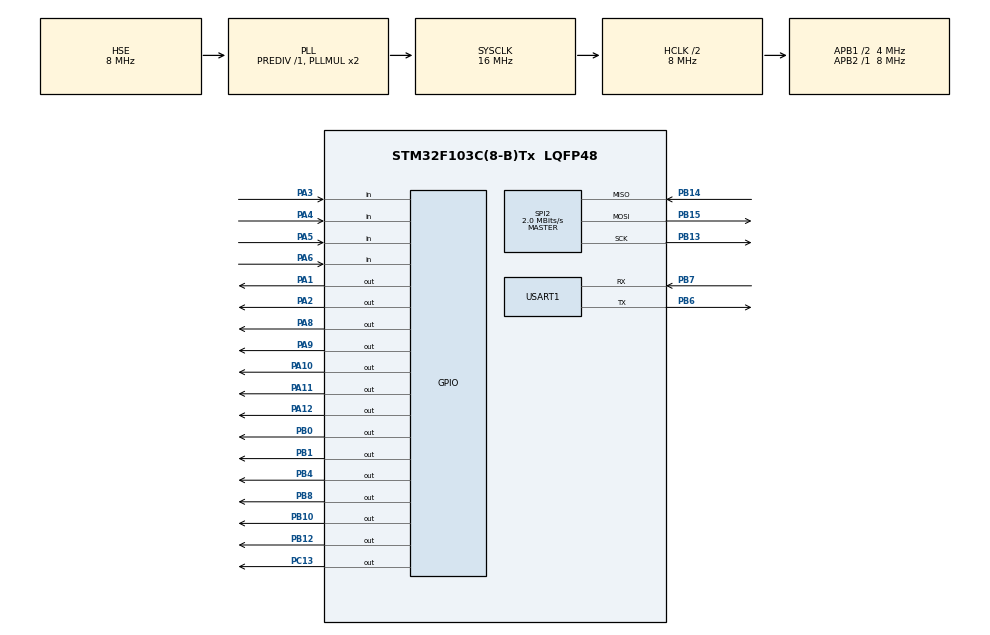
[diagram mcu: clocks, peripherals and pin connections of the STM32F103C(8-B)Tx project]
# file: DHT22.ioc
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Mcu.Family=STM32F1
Mcu.Name=STM32F103C(8-B)Tx
Mcu.Package=LQFP48
NVIC.PriorityGroup=NVIC_PRIORITYGROUP_4
PA1.Signal=GPIO_Output
PA10.Signal=GPIO_Output
PA11.Signal=GPIO_Output
PA12.Signal=GPIO_Output
PA13.Mode=Serial_Wire
PA13.Signal=SYS_JTMS-SWDIO
PA14.Mode=Serial_Wire
PA14.Signal=SYS_JTCK-SWCLK
PA2.Signal=GPIO_Output
PA3.GPIO_PuPd=GPIO_PULLUP
PA3.Signal=GPIO_Input
PA4.Signal=GPIO_Input
PA5.Signal=GPIO_Input
PA6.GPIO_PuPd=GPIO_PULLUP
PA6.Signal=GPIO_Input
PA8.Signal=GPIO_Output
PA9.Signal=GPIO_Output
PB0.Signal=GPIO_Output
PB1.Signal=GPIO_Output
PB10.Signal=GPIO_Output
PB12.Signal=GPIO_Output
PB13.Mode=Full_Duplex_Master
PB13.Signal=SPI2_SCK
PB14.Mode=Full_Duplex_Master
PB14.Signal=SPI2_MISO
PB15.Mode=Full_Duplex_Master
PB15.Signal=SPI2_MOSI
PB4.Signal=GPIO_Output
PB6.Mode=Asynchronous
PB6.Signal=USART1_TX
PB7.Mode=Asynchronous
PB7.Signal=USART1_RX
PB8.Signal=GPIO_Output
PC13-TAMPER-RTC.Signal=GPIO_Output
PD0-OSC_IN.Mode=HSE-External-Oscillator
PD0-OSC_IN.Signal=RCC_OSC_IN
PD1-OSC_OUT.Mode=HSE-External-Oscillator
PD1-OSC_OUT.Signal=RCC_OSC_OUT
ProjectManager.HeapSize=0x200
ProjectManager.StackSize=0x400
ProjectManager.TargetToolchain=STM32CubeIDE
RCC.AHBCLKDivider=RCC_SYSCLK_DIV2
RCC.AHBFreq_Value=8000000
RCC.APB1CLKDivider=RCC_HCLK_DIV2
RCC.APB1Freq_Value=4000000
RCC.APB1TimFreq_Value=8000000
RCC.APB2Freq_Value=8000000
RCC.APB2TimFreq_Value=8000000
RCC.HCLKFreq_Value=8000000
RCC.PLLSourceVirtual=RCC_PLLSOURCE_HSE
RCC.SYSCLKFreq_VALUE=16000000
RCC.SYSCLKSource=RCC_SYSCLKSOURCE_PLLCLK
RCC.USBFreq_Value=16000000
SPI2.CalculateBaudRate=2.0 MBits/s
SPI2.Direction=SPI_DIRECTION_2LINES
SPI2.Mode=SPI_MODE_MASTER
SPI2.VirtualType=VM_MASTER
TIM3.Prescaler=8000
TIM4.Prescaler=8000
USART1.VirtualMode=VM_ASYNC
VP_TIM3_VS_ClockSourceINT.Mode=Internal
VP_TIM4_VS_ClockSourceINT.Mode=Internal
board=custom

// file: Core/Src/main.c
/* USER CODE BEGIN Header */
/**
 ******************************************************************************
 * @file           : main.c
 * @brief          : Main program body
 ******************************************************************************
 * @attention
 *
 * Copyright (c) 2024 STMicroelectronics.
 * All rights reserved.
 *
 * This software is licensed under terms that can be found in the LICENSE file
 * in the root directory of this software component.
 * If no LICENSE file comes with this software, it is provided AS-IS.
 *
 ******************************************************************************
 */
/* USER CODE END Header */
#include "main.h"

/* USER CODE BEGIN Includes */
#include <string.h>
#include <stdio.h>
#include <stdbool.h>

#include <LCD20x4.h>
#include <DHT.h>
#include <ShowScreen.h>
#include <FLash.h>
#include "rc522.h"
#include "string.h"
/* USER CODE END Includes */

/* USER CODE BEGIN PTD */
#define ADD_HUMI_DATA 0x0800FC00
#define ADD_TEMP_DATA 0x08010000
/* USER CODE END PTD */

/* USER CODE BEGIN PD */
uint16_t NhietDo;
uint16_t DoAm;
uint8_t  TempSet = 30, HumiSet = 60;
bool menu = 0 , tang = 0 , giam  = 0 , ok = 0 , i , ex;
char buffer1[2];
char buffer2[2];
DHT_data d;
int a;

/* USER CODE END PD */

SPI_HandleTypeDef hspi2;

TIM_HandleTypeDef htim3;
TIM_HandleTypeDef htim4;

UART_HandleTypeDef huart1;

/* USER CODE BEGIN PV */
uint8_t status;
uint8_t str[MAX_LEN]; // Max_LEN = 16
uint8_t sNum[5];
/* USER CODE END PV */

void SystemClock_Config(void);
static void MX_GPIO_Init(void);
static void MX_TIM4_Init(void);
static void MX_USART1_UART_Init(void);
static void MX_SPI2_Init(void);
static void MX_TIM3_Init(void);

/* USER CODE BEGIN 0 */
void Normal(void) {
	HAL_GPIO_WritePin(BuzzerPort, BuzzerPin, 0);
	HAL_GPIO_WritePin(LedPort, LedPin, 0);
}

void Warning(void) {
	HAL_GPIO_TogglePin(BuzzerPort, BuzzerPin);
	HAL_GPIO_TogglePin(LedPort, LedPin);
}

void PressSound(void) {
	HAL_GPIO_TogglePin(BuzzerPort, BuzzerPin);
	HAL_GPIO_TogglePin(LedPort, LedPin);
	HAL_Delay(20);
	HAL_GPIO_TogglePin(BuzzerPort, BuzzerPin);
	HAL_GPIO_TogglePin(LedPort, LedPin);
}

void Mode(void) {
	if (menu == 0)
	{
		hienthi(NhietDo, DoAm);
		if (HAL_GPIO_ReadPin(GPIOA, Menu) == 0)
		{
			while (HAL_GPIO_ReadPin(GPIOA, Menu) == 0){}
			PressSound();
			LCD_Clear();
			menu = !menu;
		}
	}
	if (menu == 1)
	{
		LCD_SetCursor(0, 0);
		LCD_SendString("Chon gia tri cai dat");
		LCD_SetCursor(1, 4);
		LCD_SendString("Nhiet do");
		LCD_SetCursor(2, 4);
		LCD_SendString("Do am");

		LCD_SetCursor(i + 1, 0);
		LCD_SendString("->");
		if (HAL_GPIO_ReadPin(GPIOA, Menu) == 0)
		{
			while (HAL_GPIO_ReadPin(GPIOA, Menu) == 0) {}
			PressSound();
			LCD_Clear();
			menu = !menu;
		}
		if (HAL_GPIO_ReadPin(GPIOA, Tang) == 0)
		{
			LCD_SetCursor(1, 0);
			LCD_SendString("  ");
			LCD_SetCursor(2, 0);
			LCD_SendString("  ");
			i = !i ;
			LCD_SetCursor(i + 1, 0);
			LCD_SendString("->");
			PressSound();
		}
		if (HAL_GPIO_ReadPin(GPIOA, Giam) == 0)
		{
			LCD_SetCursor(1, 0);
			LCD_SendString("  ");
			LCD_SetCursor(2, 0);
			LCD_SendString("  ");
			i = !i ;
			LCD_SetCursor(i - 1, 0);
			LCD_SendString("->");
			PressSound();
		}
		if( HAL_GPIO_ReadPin(GPIOA, Ok) == 0 && i == 0 && ex == 0)
		{
			while(HAL_GPIO_ReadPin(GPIOA, Ok) == 0){}
			PressSound();
			ex = !ex;
			LCD_Clear();
			while(ex == 1)
			{
				LCD_SetCursor(0, 0);
				LCD_PrintInt(TempSet);
				LCD_SetCursor(1, 0);
				LCD_SendString("Press OK to setup !!");
				if (HAL_GPIO_ReadPin(GPIOA, Ok) == 0)
				{
					PressSound();
					LCD_Clear();
					ex = 0;
					menu = 0;
				}
				if (HAL_GPIO_ReadPin(GPIOA, Tang) == 0)
				{
					LCD_SetCursor(0,0);
					LCD_SendString("   ");
					FlashErase(ADD_TEMP_DATA);
					TempSet += 1;
					if(TempSet >= 80)
					{
						TempSet = 20;
					}
					FlashWrite(TempSet , ADD_TEMP_DATA);
				}
				if (HAL_GPIO_ReadPin(GPIOA, Giam) == 0)
				{
					LCD_SetCursor(0,0);
					LCD_SendString("   ");
					FlashErase(ADD_TEMP_DATA);
					TempSet -= 1;
					if(TempSet <= 20)
					{
						TempSet = 80;
					}
					FlashWrite(TempSet , ADD_TEMP_DATA);
				}
			}
		}
		if (HAL_GPIO_ReadPin(GPIOA, Ok) == 0 && i == 1 && ex == 0)
		{
			while (HAL_GPIO_ReadPin(GPIOA, Ok) == 0) {}
			PressSound();
			ex = !ex;
			LCD_Clear();
			while (ex == 1)
			{
				LCD_SetCursor(0, 0);
				LCD_PrintInt(HumiSet);
				LCD_SetCursor(1, 0);
				LCD_SendString("Press OK to setup !!");
				if (HAL_GPIO_ReadPin(GPIOA, Ok) == 0)
				{
					PressSound();
					LCD_Clear();
					ex = 0;
					menu = 0;
				}
				if (HAL_GPIO_ReadPin(GPIOA, Tang) == 0)
				{
					LCD_SetCursor(0,0);
					LCD_SendString("   ");
					FlashErase(ADD_HUMI_DATA);
					HumiSet += 1;
					if( HumiSet >= 70)
					{
						HumiSet = 20;
					}
					FlashWrite(HumiSet , ADD_HUMI_DATA);
				}
				if (HAL_GPIO_ReadPin(GPIOA, Giam) == 0)
				{
					LCD_SetCursor(0,0);
					LCD_SendString("   ");
					FlashErase(ADD_HUMI_DATA);
					HumiSet -= 1;
					if (HumiSet <= 20)
					{
						HumiSet = 70;
					}
					FlashWrite(HumiSet , ADD_HUMI_DATA);
				}
			}
		}
	}
}
/* USER CODE END 0 */

int main(void)
{

  /* MCU Configuration--------------------------------------------------------*/

  /* Reset of all peripherals, Initializes the Flash interface and the Systick. */
  HAL_Init();

  /* Configure the system clock */
  SystemClock_Config();

  /* Initialize all configured peripherals */
  MX_GPIO_Init();
  MX_TIM4_Init();
  MX_USART1_UART_Init();
  MX_SPI2_Init();
  MX_TIM3_Init();
  /* USER CODE BEGIN 2 */
  MFRC522_Init();
  LCD_Init();
  HAL_TIM_Base_Start(&htim4);
  DHT_sensor MyRoom = { GPIOB, GPIO_PIN_4, DHT22, GPIO_NOPULL };
  HumiSet = FlashRead (ADD_HUMI_DATA) ;
  TempSet = FlashRead (ADD_TEMP_DATA) ;
  __HAL_TIM_SET_COUNTER(&htim4 , 0);
  HAL_TIM_PWM_Start(&htim4 , TIM_CHANNEL_3);
  /* USER CODE END 2 */

  /* Infinite loop */
	while (1)
	{

    /* USER CODE BEGIN 3 */
		d = DHT_getData(&MyRoom);

		NhietDo = (uint16_t) d.temp;
		DoAm = (uint16_t) d.hum;

		if (d.temp > TempSet || d.hum > HumiSet) {
			Warning();
		} else {
			Normal();
		}
		Mode();
		sprintf(buffer1 , "%d" ,(uint16_t) d.temp);
		sprintf(buffer2 , "%d" ,(uint16_t) d.hum);
		if(__HAL_TIM_GET_COUNTER(&htim4) > 1000)
		{
			HAL_UART_Transmit(&huart1 , (uint8_t *)buffer1 , 2,1);
			HAL_UART_Transmit(&huart1 , (uint8_t *)buffer2 , 2,1);
			__HAL_TIM_SET_COUNTER(&htim4 , 0);
		}
		status = MFRC522_Request(PICC_REQIDL, str);
		status = MFRC522_Anticoll(str);
		memcpy(sNum, str, 5);
		if((sNum[0]==115) && (sNum[1]==238) && (sNum[2]==40) && (sNum[3]==168) && (sNum[4]==29) )
		{

			   HAL_GPIO_WritePin(GPIOB,GPIO_PIN_10,1);
			   LCD_SetCursor(2, 0);
			   LCD_SendString("         ");
			   LCD_SetCursor(2, 0);
			   LCD_SendString("CUA MO");
			   HAL_Delay(1000);
		}
		else
		{
			HAL_GPIO_WritePin(GPIOB,GPIO_PIN_10,0);
			LCD_SetCursor(2,0);
			LCD_SendString("         ");
			LCD_SetCursor(2, 0);
			LCD_SendString("CUA DONG");
		}
	}

  /* USER CODE END 3 */
}

void SystemClock_Config(void)
{
  RCC_OscInitTypeDef RCC_OscInitStruct = {0};
  RCC_ClkInitTypeDef RCC_ClkInitStruct = {0};

  /** Initializes the RCC Oscillators according to the specified parameters
  * in the RCC_OscInitTypeDef structure.
  */
  RCC_OscInitStruct.OscillatorType = RCC_OSCILLATORTYPE_HSE;
  RCC_OscInitStruct.HSEState = RCC_HSE_ON;
  RCC_OscInitStruct.HSEPredivValue = RCC_HSE_PREDIV_DIV1;
  RCC_OscInitStruct.HSIState = RCC_HSI_ON;
  RCC_OscInitStruct.PLL.PLLState = RCC_PLL_ON;
  RCC_OscInitStruct.PLL.PLLSource = RCC_PLLSOURCE_HSE;
  RCC_OscInitStruct.PLL.PLLMUL = RCC_PLL_MUL2;
  if (HAL_RCC_OscConfig(&RCC_OscInitStruct) != HAL_OK)
  {
    Error_Handler();
  }

  /** Initializes the CPU, AHB and APB buses clocks
  */
  RCC_ClkInitStruct.ClockType = RCC_CLOCKTYPE_HCLK|RCC_CLOCKTYPE_SYSCLK
                              |RCC_CLOCKTYPE_PCLK1|RCC_CLOCKTYPE_PCLK2;
  RCC_ClkInitStruct.SYSCLKSource = RCC_SYSCLKSOURCE_PLLCLK;
  RCC_ClkInitStruct.AHBCLKDivider = RCC_SYSCLK_DIV2;
  RCC_ClkInitStruct.APB1CLKDivider = RCC_HCLK_DIV2;
  RCC_ClkInitStruct.APB2CLKDivider = RCC_HCLK_DIV1;

  if (HAL_RCC_ClockConfig(&RCC_ClkInitStruct, FLASH_LATENCY_0) != HAL_OK)
  {
    Error_Handler();
  }
}

static void MX_SPI2_Init(void)
{

  /* SPI2 parameter configuration*/
  hspi2.Instance = SPI2;
  hspi2.Init.Mode = SPI_MODE_MASTER;
  hspi2.Init.Direction = SPI_DIRECTION_2LINES;
  hspi2.Init.DataSize = SPI_DATASIZE_8BIT;
  hspi2.Init.CLKPolarity = SPI_POLARITY_LOW;
  hspi2.Init.CLKPhase = SPI_PHASE_1EDGE;
  hspi2.Init.NSS = SPI_NSS_SOFT;
  hspi2.Init.BaudRatePrescaler = SPI_BAUDRATEPRESCALER_2;
  hspi2.Init.FirstBit = SPI_FIRSTBIT_MSB;
  hspi2.Init.TIMode = SPI_TIMODE_DISABLE;
  hspi2.Init.CRCCalculation = SPI_CRCCALCULATION_DISABLE;
  hspi2.Init.CRCPolynomial = 10;
  if (HAL_SPI_Init(&hspi2) != HAL_OK)
  {
    Error_Handler();
  }

}

static void MX_TIM3_Init(void)
{

  TIM_ClockConfigTypeDef sClockSourceConfig = {0};
  TIM_MasterConfigTypeDef sMasterConfig = {0};

  htim3.Instance = TIM3;
  htim3.Init.Prescaler = 8000;
  htim3.Init.CounterMode = TIM_COUNTERMODE_UP;
  htim3.Init.Period = 65535;
  htim3.Init.ClockDivision = TIM_CLOCKDIVISION_DIV1;
  htim3.Init.AutoReloadPreload = TIM_AUTORELOAD_PRELOAD_DISABLE;
  if (HAL_TIM_Base_Init(&htim3) != HAL_OK)
  {
    Error_Handler();
  }
  sClockSourceConfig.ClockSource = TIM_CLOCKSOURCE_INTERNAL;
  if (HAL_TIM_ConfigClockSource(&htim3, &sClockSourceConfig) != HAL_OK)
  {
    Error_Handler();
  }
  sMasterConfig.MasterOutputTrigger = TIM_TRGO_RESET;
  sMasterConfig.MasterSlaveMode = TIM_MASTERSLAVEMODE_DISABLE;
  if (HAL_TIMEx_MasterConfigSynchronization(&htim3, &sMasterConfig) != HAL_OK)
  {
    Error_Handler();
  }

}

static void MX_TIM4_Init(void)
{

  TIM_ClockConfigTypeDef sClockSourceConfig = {0};
  TIM_MasterConfigTypeDef sMasterConfig = {0};

  htim4.Instance = TIM4;
  htim4.Init.Prescaler = 8000;
  htim4.Init.CounterMode = TIM_COUNTERMODE_UP;
  htim4.Init.Period = 65535;
  htim4.Init.ClockDivision = TIM_CLOCKDIVISION_DIV1;
  htim4.Init.AutoReloadPreload = TIM_AUTORELOAD_PRELOAD_DISABLE;
  if (HAL_TIM_Base_Init(&htim4) != HAL_OK)
  {
    Error_Handler();
  }
  sClockSourceConfig.ClockSource = TIM_CLOCKSOURCE_INTERNAL;
  if (HAL_TIM_ConfigClockSource(&htim4, &sClockSourceConfig) != HAL_OK)
  {
    Error_Handler();
  }
  sMasterConfig.MasterOutputTrigger = TIM_TRGO_RESET;
  sMasterConfig.MasterSlaveMode = TIM_MASTERSLAVEMODE_DISABLE;
  if (HAL_TIMEx_MasterConfigSynchronization(&htim4, &sMasterConfig) != HAL_OK)
  {
    Error_Handler();
  }

}

static void MX_USART1_UART_Init(void)
{

  huart1.Instance = USART1;
  huart1.Init.BaudRate = 115200;
  huart1.Init.WordLength = UART_WORDLENGTH_8B;
  huart1.Init.StopBits = UART_STOPBITS_1;
  huart1.Init.Parity = UART_PARITY_NONE;
  huart1.Init.Mode = UART_MODE_TX_RX;
  huart1.Init.HwFlowCtl = UART_HWCONTROL_NONE;
  huart1.Init.OverSampling = UART_OVERSAMPLING_16;
  if (HAL_UART_Init(&huart1) != HAL_OK)
  {
    Error_Handler();
  }

}

static void MX_GPIO_Init(void)
{
  GPIO_InitTypeDef GPIO_InitStruct = {0};

  /* GPIO Ports Clock Enable */
  __HAL_RCC_GPIOC_CLK_ENABLE();
  __HAL_RCC_GPIOD_CLK_ENABLE();
  __HAL_RCC_GPIOA_CLK_ENABLE();
  __HAL_RCC_GPIOB_CLK_ENABLE();

  /*Configure GPIO pin Output Level */
  HAL_GPIO_WritePin(GPIOC, GPIO_PIN_13, GPIO_PIN_RESET);

  /*Configure GPIO pin Output Level */
  HAL_GPIO_WritePin(GPIOA, GPIO_PIN_1|GPIO_PIN_2|GPIO_PIN_8|GPIO_PIN_9
                          |GPIO_PIN_10|GPIO_PIN_11|GPIO_PIN_12, GPIO_PIN_RESET);

  /*Configure GPIO pin Output Level */
  HAL_GPIO_WritePin(GPIOB, GPIO_PIN_0|GPIO_PIN_1|GPIO_PIN_10|GPIO_PIN_12
                          |GPIO_PIN_4|GPIO_PIN_8, GPIO_PIN_RESET);

  /*Configure GPIO pin : PC13 */
  GPIO_InitStruct.Pin = GPIO_PIN_13;
  GPIO_InitStruct.Mode = GPIO_MODE_OUTPUT_PP;
  GPIO_InitStruct.Pull = GPIO_NOPULL;
  GPIO_InitStruct.Speed = GPIO_SPEED_FREQ_LOW;
  HAL_GPIO_Init(GPIOC, &GPIO_InitStruct);

  /*Configure GPIO pins : PA1 PA2 PA8 PA9
                           PA10 PA11 PA12 */
  GPIO_InitStruct.Pin = GPIO_PIN_1|GPIO_PIN_2|GPIO_PIN_8|GPIO_PIN_9
                          |GPIO_PIN_10|GPIO_PIN_11|GPIO_PIN_12;
  GPIO_InitStruct.Mode = GPIO_MODE_OUTPUT_PP;
  GPIO_InitStruct.Pull = GPIO_NOPULL;
  GPIO_InitStruct.Speed = GPIO_SPEED_FREQ_LOW;
  HAL_GPIO_Init(GPIOA, &GPIO_InitStruct);

  /*Configure GPIO pins : PA3 PA6 */
  GPIO_InitStruct.Pin = GPIO_PIN_3|GPIO_PIN_6;
  GPIO_InitStruct.Mode = GPIO_MODE_INPUT;
  GPIO_InitStruct.Pull = GPIO_PULLUP;
  HAL_GPIO_Init(GPIOA, &GPIO_InitStruct);

  /*Configure GPIO pins : PA4 PA5 */
  GPIO_InitStruct.Pin = GPIO_PIN_4|GPIO_PIN_5;
  GPIO_InitStruct.Mode = GPIO_MODE_INPUT;
  GPIO_InitStruct.Pull = GPIO_NOPULL;
  HAL_GPIO_Init(GPIOA, &GPIO_InitStruct);

  /*Configure GPIO pins : PB0 PB1 PB10 PB12
                           PB4 PB8 */
  GPIO_InitStruct.Pin = GPIO_PIN_0|GPIO_PIN_1|GPIO_PIN_10|GPIO_PIN_12
                          |GPIO_PIN_4|GPIO_PIN_8;
  GPIO_InitStruct.Mode = GPIO_MODE_OUTPUT_PP;
  GPIO_InitStruct.Pull = GPIO_NOPULL;
  GPIO_InitStruct.Speed = GPIO_SPEED_FREQ_LOW;
  HAL_GPIO_Init(GPIOB, &GPIO_InitStruct);

}

void Error_Handler(void)
{
	__disable_irq();
	while (1) {
	}
}
